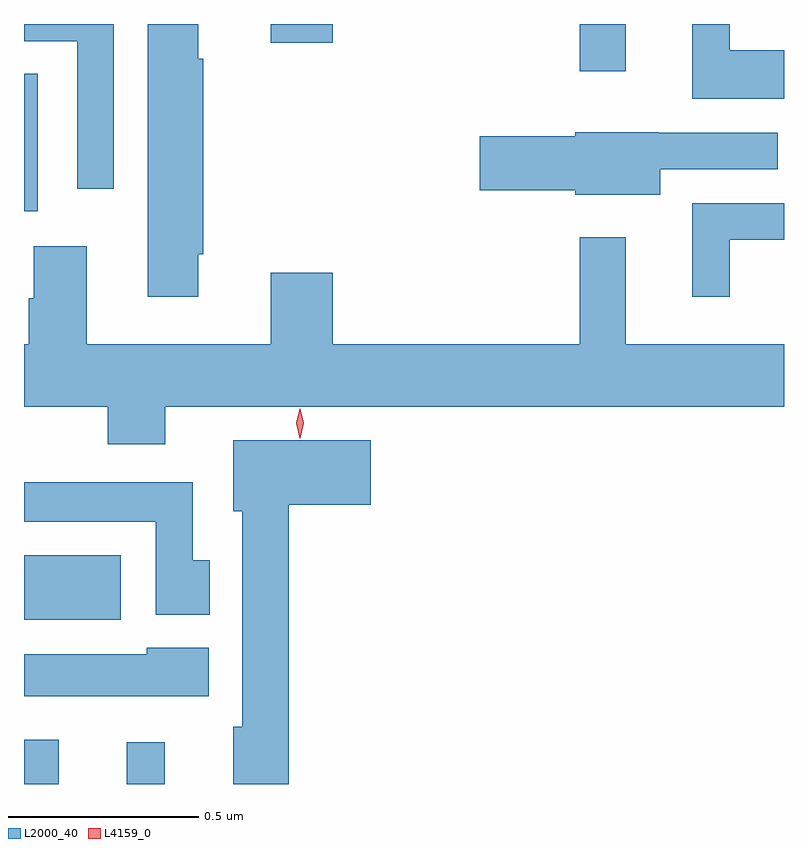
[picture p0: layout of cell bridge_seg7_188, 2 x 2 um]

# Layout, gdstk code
import gdstk
lib = gdstk.Library(unit=1e-6, precision=1e-09)
def R(c, l, rs):  # rectangles x0, y0, x1, y1
    for r in rs: c.add(gdstk.rectangle(r[:2], r[2:], *l))
def P(c, l, *ps):  # polygons
    for p in ps: c.add(gdstk.Polygon(p, *l))
L2000_40 = (2000, 40)
L4159_0 = (4159, 0)

bridge_seg7_188 = lib.new_cell('bridge_seg7_188')
R(bridge_seg7_188, L2000_40, [(488.035,1034.255,488.126,1034.371), (488.306,1034.255,488.405,1034.365), (488.035,1034.687,488.29,1034.857), (488.035,1035.762,488.071,1036.124), (489.498,1036.131,489.619,1036.255), (488.684,1036.206,488.848,1036.255)])
P(bridge_seg7_188, L2000_40, [(488.271,1036.255),(488.035,1036.255),(488.035,1036.209),(488.175,1036.209),(488.175,1035.822),(488.271,1035.822)],
  [(488.494,1035.649),(488.507,1035.649),(488.507,1036.164),(488.494,1036.164),(488.494,1036.255),(488.36,1036.255),(488.36,1035.537),(488.494,1035.537)],
  [(490.035,1036.186),(489.892,1036.186),(489.892,1036.255),(489.794,1036.255),(489.794,1036.058),(490.035,1036.058)],
  [(489.709,1035.873),(490.018,1035.873),(490.018,1035.969),(489.705,1035.969),(489.705,1035.97),(489.486,1035.97),(489.486,1035.959),(489.234,1035.959),(489.234,1035.817),(489.486,1035.817),(489.486,1035.806),(489.709,1035.806)],
  [(489.892,1035.687),(490.035,1035.687),(490.035,1035.783),(489.794,1035.783),(489.794,1035.537),(489.892,1035.537)],
  [(488.407,1035.248),(490.035,1035.248),(490.035,1035.412),(489.619,1035.412),(489.619,1035.694),(489.498,1035.694),(489.498,1035.412),(488.848,1035.412),(488.848,1035.601),(488.684,1035.601),(488.684,1035.412),(488.2,1035.412),(488.2,1035.67),(488.06,1035.67),(488.06,1035.533),(488.048,1035.533),(488.048,1035.412),(488.035,1035.412),(488.035,1035.248),(488.255,1035.248),(488.255,1035.149),(488.407,1035.149)],
  [(488.732,1034.99),(488.947,1034.99),(488.947,1035.16),(488.585,1035.16),(488.585,1034.973),(488.609,1034.973),(488.609,1034.406),(488.585,1034.406),(488.585,1034.255),(488.732,1034.255)],
  [(488.524,1034.844),(488.479,1034.844),(488.479,1035.049),(488.035,1035.049),(488.035,1034.945),(488.382,1034.945),(488.382,1034.7),(488.524,1034.7)],
  [(488.521,1034.614),(488.358,1034.614),(488.358,1034.596),(488.035,1034.596),(488.035,1034.486),(488.521,1034.486)])
P(bridge_seg7_188, L4159_0, [(488.761,1035.165),(488.761,1035.165),(488.751,1035.204),(488.761,1035.243),(488.761,1035.243),(488.762,1035.243),(488.771,1035.204),(488.762,1035.165)])

lib.write_gds('bridge_seg7_188.gds')
